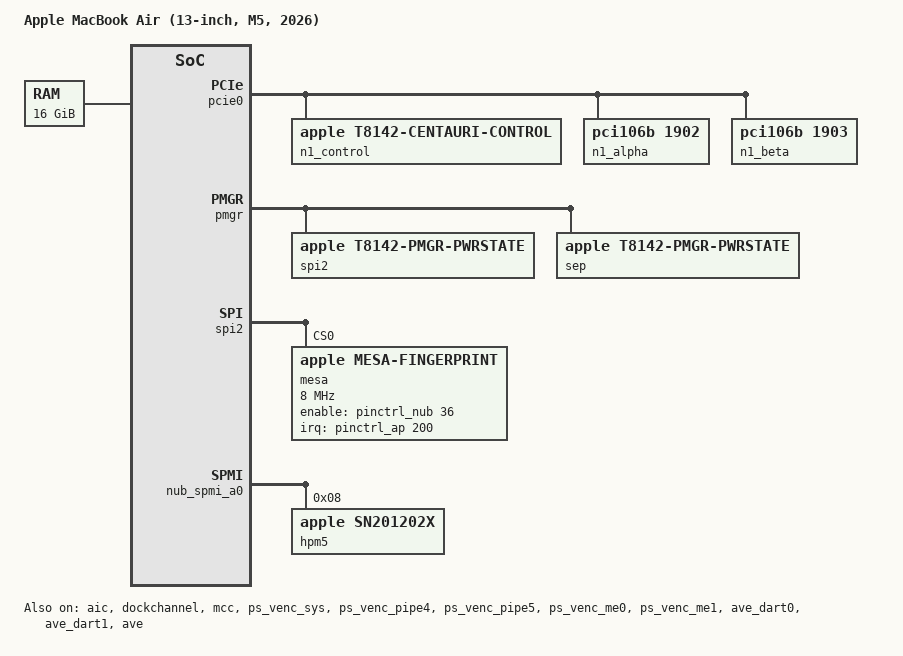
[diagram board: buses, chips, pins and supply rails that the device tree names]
// SPDX-License-Identifier: GPL-2.0+ OR MIT
/*
 * Apple MacBook Air (13-inch, M5, 2026), J813.
 *
 * Initial RAM boot resources measured from the J813 Apple Device Tree.
 * The loader supplies usable memory, CPU release addresses and framebuffer
 * geometry. Peripheral power management is left with the boot firmware.
 */
/dts-v1/;

#include "t8142.dtsi"

/ {
	compatible = "apple,j813", "apple,t8142", "apple,arm-platform";
	model = "Apple MacBook Air (13-inch, M5, 2026)";
	chassis-type = "laptop";

	aliases {
		serial0 = &dockchannel;
		serial1 = &serial0;
	};

	chosen {
		#address-cells = <2>;
		#size-cells = <2>;
		ranges;

		stdout-path = "serial0:1500000n8";

		framebuffer0: framebuffer@0 {
			compatible = "apple,simple-framebuffer", "simple-framebuffer";
			reg = <0 0 0 0>; /* Filled by the loader. */
			status = "disabled";
		};
	};

	memory@10000000000 {
		reg = <0x100 0 0x4 0>; /* Filled by the loader. */
	};
};

&cpu0 {
	operating-points-v2 = <&ecluster_opp>;
	performance-domains = <&cpufreq_e>;
	status = "okay";
};

&cpu1 {
	operating-points-v2 = <&ecluster_opp>;
	performance-domains = <&cpufreq_e>;
	status = "okay";
};

&cpu2 {
	operating-points-v2 = <&ecluster_opp>;
	performance-domains = <&cpufreq_e>;
	status = "okay";
};

&cpu3 {
	operating-points-v2 = <&ecluster_opp>;
	performance-domains = <&cpufreq_e>;
	status = "okay";
};

&cpu4 {
	operating-points-v2 = <&ecluster_opp>;
	performance-domains = <&cpufreq_e>;
	status = "okay";
};

&cpu5 {
	operating-points-v2 = <&ecluster_opp>;
	performance-domains = <&cpufreq_e>;
	status = "okay";
};

&cpu6 {
	operating-points-v2 = <&pcluster_opp>;
	performance-domains = <&cpufreq_p>;
	status = "okay";
};

&cpu7 {
	operating-points-v2 = <&pcluster_opp>;
	performance-domains = <&cpufreq_p>;
	status = "okay";
};

&cpu8 {
	operating-points-v2 = <&pcluster_opp>;
	performance-domains = <&cpufreq_p>;
	status = "okay";
};

&cpu9 {
	operating-points-v2 = <&pcluster_opp>;
	performance-domains = <&cpufreq_p>;
	status = "okay";
};

&{/timer} {
	status = "okay";
};

&aic {
	status = "okay";
};

&cpu_pmu {
	status = "okay";
};

&dockchannel {
	status = "okay";
};

#include "t8142-j813-display.dtsi"
#include "t8142-j813-gpu.dtsi"
#include "t8142-j813-peripherals.dtsi"
#include "t8142-j813-j815.dtsi"
#include "t8142-j813-usb.dtsi"
#include "t8142-j813-dcpext.dtsi"
#include "t8142-j813-avd.dtsi"
#include "t8142-j813-isp.dtsi"
#include "t8142-j813-n1.dtsi"
#include "t8142-j813-audio.dtsi"

/*
 * Ambient light sensor, the AOP's "als" service: an ST VD6286, as on J815
 * (same ADT node, /arm-io/aop/iop-aop-nub/als). aop_als sends it the
 * per-device calibration (apple/aop-als-cal.bin). No firmware-name: that
 * names the CT817 setup-port message, which this sensor does not take.
 */
&aop {
	aop_als: als {
		compatible = "apple,t8142-aop-als", "apple,aop-als";
	};

	/*
	 * Lid angle: the J813 AOP firmware announces a "las" service, as the
	 * J815's does, and aop_las reads the hinge angle from it.
	 */
	aop_las: las {
		compatible = "apple,t8142-aop-las", "apple,aop-las";
	};
};

/*
 * N1 functions behind apcie port 0 (0000:00:00.0 -> 01:00.{0,1,2}), so the
 * loader has somewhere to put the factory addresses: it copies ADT /chosen
 * mac-address-wifi0 and mac-address-bluetooth0 into the wifi0/bluetooth0
 * alias targets. Same nodes as t8142-j815.dts (same N1, same PCI IDs).
 */
/ {
	aliases {
		wifi0 = &n1_alpha;
		bluetooth0 = &n1_beta;
		/*
		 * The loader finds the SEP through this alias: it reserves SEPFW
		 * and copies the boot's local-policy and iBoot manifests onto
		 * the node.
		 */
		sep = &sep;
	};
};

&pcie0 {
	n1_port: pci@0,0 {
		device_type = "pci";
		reg = <0x0 0x0 0x0 0x0 0x0>;
		bus-range = <1 1>;
		#address-cells = <3>;
		#size-cells = <2>;
		ranges;

		n1_control: control@0,0 {
			compatible = "apple,t8142-centauri-control", "pci106b,1900";
			reg = <0x10000 0x0 0x0 0x0 0x0>;
		};

		n1_alpha: wifi@0,1 {
			compatible = "pci106b,1902";
			reg = <0x10100 0x0 0x0 0x0 0x0>;
			/* Filled by the loader */
			local-mac-address = [00 00 00 00 00 00];
		};

		n1_beta: bluetooth@0,2 {
			compatible = "pci106b,1903";
			reg = <0x10200 0x0 0x0 0x0 0x0>;
			/* Filled by the loader */
			local-bd-address = [00 00 00 00 00 00];
		};
	};
};

&mtp_hid {
	multi-touch {
		firmware-name = "apple/tpmtfw-j813.bin";
	};
};

/* Unexposed chassis port instances remain described and disabled. */

/*
 * Secure Enclave and the Touch ID sensor. All values are from the J813 ADT
 * (macOS 27.0) and are the same as J815's:
 *  - sep: iop-sep,ascwrap-v6 at 0x30a600000 (0x88000), sepfw-booted, so
 *    apple_sep warm-attaches; ASC mailbox at +0x8000, AIC 445-448.
 *  - dart-sep: t8110 at 0x308b80000, irq 455; vm-base-0 0x10000004000,
 *    vm-size-0 0xffff0000.
 *  - spi2 at 0x3a5108000, irq 1241; PMGR device SPI2 at +0x440, parent SPI_P.
 *  - mesa: "biosensor,mesa", sensor-id 0x3356, 8 MHz, CS0; power
 *    function-mesa_pwr = NUB GPIO pin 36; data-ready interrupt on AP GPIO
 *    pin 200.
 * The SEP and its DART stay disabled here: apple_sep enables them at module
 * init (drivers/soc/apple/dt.rs).
 */
&pmgr {
	ps_spi2: power-controller@440 {
		compatible = "apple,t8142-pmgr-pwrstate", "apple,t8103-pmgr-pwrstate";
		reg = <0x440 4>;
		#power-domain-cells = <0>;
		#reset-cells = <0>;
		power-domains = <&ps_spi_p>;
		label = "spi2";
	};
};

&{/soc} {
	sep: sep@30a600000 {
		compatible = "apple,sep";
		reg = <0x3 0x0a600000 0x0 0x88000>;
		mboxes = <&sep_mbox>;
		mbox-names = "mbox";
		iommus = <&sep_dart 0>;
		status = "disabled";
	};

	sep_mbox: mbox@30a608000 {
		compatible = "apple,t8142-asc-mailbox", "apple,asc-mailbox-v4";
		reg = <0x3 0x0a608000 0x0 0x4000>;
		interrupt-parent = <&aic>;
		interrupts = <AIC_IRQ 445 IRQ_TYPE_LEVEL_HIGH>,
			     <AIC_IRQ 446 IRQ_TYPE_LEVEL_HIGH>,
			     <AIC_IRQ 447 IRQ_TYPE_LEVEL_HIGH>,
			     <AIC_IRQ 448 IRQ_TYPE_LEVEL_HIGH>;
		interrupt-names = "send-empty", "send-not-empty",
				  "recv-empty", "recv-not-empty";
		#mbox-cells = <0>;
		status = "okay";
	};

	spi2: spi@3a5108000 {
		compatible = "apple,t8142-spi", "apple,t8103-spi";
		reg = <0x3 0xa5108000 0x0 0x4000>;
		interrupt-parent = <&aic>;
		interrupts = <AIC_IRQ 1241 IRQ_TYPE_LEVEL_HIGH>;
		clocks = <&clkref>;
		power-domains = <&ps_spi2>;
		#address-cells = <1>;
		#size-cells = <0>;
		status = "okay";

		mesa: fingerprint@0 {
			compatible = "apple,mesa-fingerprint";
			reg = <0>;
			spi-max-frequency = <8000000>;
			spi-cpol;
			spi-cs-setup-delay-ns = <20>;
			spi-cs-hold-delay-ns = <20>;
			enable-gpios = <&pinctrl_nub 36 GPIO_ACTIVE_HIGH>;
			interrupt-parent = <&pinctrl_ap>;
			interrupts = <200 IRQ_TYPE_EDGE_RISING>;
			/* Per-device files, built from the Mac's own factory records. */
			firmware-name = "apple/mesacal-j813.bin", "apple/msrk-j813.bin";
			status = "okay";
		};
	};
};

&sep_dart {
	apple,dma-range = /bits/ 64 <0x10000004000 0xffff0000>;
	apple,dma-offset = /bits/ 64 <0x0>;
};

/* Expose the sensor's two pins next to the ones sound uses. */
&pinctrl_ap {
	gpio-reserved-ranges = <0 100>, <101 49>, <152 48>, <201 23>;
};

&pinctrl_nub {
	gpio-reserved-ranges = <0 18>, <19 17>, <37 3>;
};

/*
 * aura (mcc_init_m5) turns the system level cache on; the driver confirms it
 * and flushes on shutdown.
 */
&mcc {
	status = "okay";
};

/*
 * Video encoder: ADT ave ("ave2", pre-loaded) behind dart-ave, the same
 * addresses, interrupts and power states as on the J815. aura hands over the
 * preloaded firmware or disables the node.
 */
&ps_venc_sys {
	status = "okay";
};

&ps_venc_dma {
	status = "okay";
};

&ps_venc_pipe4 {
	status = "okay";
};

&ps_venc_pipe5 {
	status = "okay";
};

&ps_venc_me0 {
	status = "okay";
};

&ps_venc_me1 {
	status = "okay";
};

&ave_dart0 {
	status = "okay";
};

&ave_dart1 {
	status = "okay";
};

&ave {
	status = "okay";
};

/*
 * J813 port of the J815 MagSafe PD controller, DCP DART write-disable and
 * suspend-to-RAM description (t8142-j815.dts), unchanged: the J813 ADT
 * (firmware 27.0) has the same values. Checked there: /arm-io/pmgr reg[1],
 * [2], [7], [18], [34]; SEP +0xc00; DISP_CPU 0x10000, DISP_FE 0x318, DISP_SYS
 * 0x290; dart-dcp reg[1] 0x380714000 and its wr-dis entry {0x3fdc, 0, bit 6};
 * /arm-io/apcie reg[0..10]; pci-bridge0 function-perst GPIO 192; gpio0
 * no-restore-gpio-pins <78 203>; nub-spmi-a0 hpm5 at SID 8; the six wake
 * sources by name (152 72 168 190 89 108). Not run on a J813.
 */
/*
 * The MagSafe 3 port's PD controller: ADT hpm5 on nub-spmi-a0, SID 8, port-type
 * 0x11. It has no USB data path, so it gets no connector node; tipd registers a
 * Type-C port and a power supply for it, as on J714s. The bus is polled on
 * T8142, so like hpm0 and hpm1 it has no interrupts. Its ADT features-supported
 * is <3>, "Power In" only: no liquid detection.
 */
&nub_spmi_a0 {
	hpm5: usb-pd@8 {
		compatible = "apple,sn201202x";
		reg = <0x8 SPMI_USID>;
		apple,no-liquid-detection;
	};
};

/*
 * The DCP DART's PS write-disable bit, which T8142 has instead of T8140's GAPF slice. Live ADT
 * dart-dcp: clock-protection-wr-dis-id <0x1f 0xff>, PSWR instance 0 = reg[1] 0x380714000.
 * /chosen/dart-ps-wr-dis-entries[0x1f] = {offset 0x3fdc, instance 0, bit 6, refcount 1}, and
 * the T8142 SPTM (27.2.1) sets that bit on the 0->1 refcount and clears it on 1->0 at the
 * DART's power-down, where T8140's clears GAPF bit 4. Set, the fabric rejects writes to
 * DISP_CPU's power word: the DART driver clears it once the DCP is stopped and sets it again
 * after. Only a DCP firmware stop uses it. Never run on an M5.
 */
&dcp_dart {
	reg = <0x2 0x86340000 0x0 0x20000>,
	      <0x3 0x80717fdc 0x0 0x4>;
	reg-names = "dart", "ps-wr-dis";
	apple,ps-wr-dis-bit = <6>;
};

/*
 * Suspend-to-RAM (apple,t8142-sleep): derived from macOS 27.2.1 and T8132's measurements, and
 * dry-run gated in the driver (apple_sleep.deep, apple_sleep.untested_commit).
 */
&pmgr {
	/*
	 * SEP (J815 and J813 ADT, PMGR +0xc00). Never switched by Linux: named so the enclave's sleep
	 * request (pm_shim) and the deep sleep's last refusal can read its state, as on J713.
	 */
	ps_sep: power-controller@c00 {
		compatible = "apple,t8142-pmgr-pwrstate", "apple,t8103-pmgr-pwrstate";
		reg = <0xc00 4>;
		#power-domain-cells = <0>;
		#reset-cells = <0>;
		label = "sep";
		apple,always-on;
		apple,firmware-owned;
	};
};

/* For the enclave's sleep request; the domain is firmware-owned. */
&sep {
	power-domains = <&ps_sep>;
};

&{/soc} {
	/*
	 * The CPU cores' power-gate enables, /arm-io/pmgr reg[34] (0x380724000): one word per
	 * core at a 0x10 stride, E cores 0..5 at +0x0..+0x50, P cores at +0x60... iBoot leaves
	 * the boot core's (P core 0, +0x60) clear (probe snapshot: 0), so the boot core never
	 * powers off in WFI, the P complex stays BUSY at the commit and WD2 resets (b44-b46).
	 * AppleT8142PMGR's restoreHW sets exactly +0x0 and +0x60, T8132 (J713) enables the
	 * same two words at boot, T6050 measured the same failure with core 0's word clear.
	 */
	cluster_pwrgate: power-gate@380724000 {
		compatible = "apple,t8142-cluster-pwrgate", "apple,cluster-pwrgate";
		reg = <0x3 0x80724000 0x0 0x4>,
		      <0x3 0x80724060 0x0 0x4>;
	};

	/*
	 * Suspend-to-RAM. The blocks are T8132's, at the same J815 and J813 ADT indices: /arm-io/pmgr
	 * reg[32] (ps), [34] (pwrgate), [42] (cpu-start), [45] (cllt; EARLY_WAKEUP_CFG at
	 * +0x50), [36] (cluster), [40] + 0x4000 (commit), [38] (aon-misc), [4] (wake: nine mask
	 * and nine status words), [1] (ps-aon), /arm-io/wdt, nub-spmi0, nub-spmi-a0, the
	 * PMC's voter floors (as &pmc), and the SoC and DCS perf-state words that
	 * AppleT8142PMGR::setPerfState writes (reg[2] + 0x24000, + 0x25000).
	 * Derived from macOS 27.2.1 and T8132's measurements, never run on an M5: the driver
	 * stops each sleep at a dry run unless booted with apple_sleep.untested_commit=1,
	 * and deep sleep is only used when asked for (mem_sleep).
	 */
	sleep: sleep-controller@380700000 {
		compatible = "apple,t8142-sleep";
		reg = <0x3 0x80700000 0x0 0x18000>,
		      <0x3 0x80724000 0x0 0x2000>,
		      <0x3 0x80734000 0x0 0x10>,
		      <0x3 0x80768000 0x0 0x54>,
		      <0x3 0x80780000 0x0 0x8>,
		      <0x3 0x882d4000 0x0 0x4>,
		      <0x3 0x882b0000 0x0 0x30>,
		      <0x3 0x882b8000 0x0 0x44>,
		      <0x3 0x88004000 0x0 0x50>,
		      /* SPMI gen 4: queue at +0x200..0x220, notify enable/ack +0x420/+0x620 */
		      <0x3 0x88714000 0x0 0x1000>,
		      <0x3 0x88280000 0x0 0x10000>,
		      /* nub-spmi-a0's notify enable word (gen 4: +0x420; gen 1 had +0x40) */
		      <0x3 0x88908420 0x0 0x4>,
		      <0x3 0x82700000 0x0 0x10000>,
		      <0x3 0x80024000 0x0 0x4>,
		      <0x3 0x80025000 0x0 0x4>,
		      /*
		       * Each complex's ACC word 0x40f8 (ADT pmgr reg[7] E, reg[18] P, + 0x40f8),
		       * which AppleT8142PMGR sets to 1 after the complex powers on and at the
		       * end of restoreHW.
		       */
		      <0x2 0x10e440f8 0x0 0x4>,
		      <0x2 0x11e440f8 0x0 0x4>;
		reg-names = "ps", "pwrgate", "cpu-start", "cllt", "cluster",
			    "commit", "wdt", "aon-misc", "wake", "spmi",
			    "ps-aon", "spmi-a0", "pmc-voters", "clk-perf", "dcs",
			    "acc-e", "acc-p";
		/*
		 * From the J815 and J813 ADT's /arm-io/pmgr ap-wake-sources, the same sources
		 * as T8132's by name: NUB.SPMI0.SW3, ATC0.USBWakeup, SMC.CPUWakeupAP,
		 * SMC.OutboxNotEmpty, MTP.DOCK.CHANNELS.AP0.IRQ and MTP.OutboxNotEmpty.
		 */
		apple,wake-enable = <152 72 168 190 89 108>;
		apple,display-coprocessors = <&dcp>;
		/* ANS's link's shared block, and the radio's link, which only aura trains */
		apple,apcie = <&apcie_shared>;
		apple,radio-host = <&pcie0>;
		/* ADT pci-bridge0 function-perst: AP GPIO 192 */
		apple,radio-perst = <&pinctrl_ap 192 GPIO_ACTIVE_LOW>;
		apple,pinctrl = <&pinctrl_ap>;
		/* The ADT's no-restore-gpio-pins: reading pin 78 raises an SError. */
		apple,pinctrl-skip-pins = <78 203>;
	};

	/*
	 * The internal display's power words for a DCP firmware stop (drm/apple dcp_s2r_*),
	 * written only with appledrm.s2r_untested=1: /arm-io/pmgr reg[34] (pwrgate: DISP_CPU's
	 * retention words 0x11cc and 0x11f0, the pmgr's retention_config_ff/_mem) and reg[32]
	 * (ps: DISP_CPU 0x10000, DISP_FE 0x318, DISP_SYS 0x290). T8142's PMC has no count of
	 * powered DCPs, so no pmc-dcp. Derived from macOS 27.2.1, never run.
	 */
	/*
	 * ANS's side of the shared PCIe block, which the sleep controller brings back after a
	 * real sleep in AppleT8142PCIe's order (as aura's j813_n1.c at boot): ADT /arm-io/apcie
	 * reg[1] (rc), [2] (phy-block; its PHY-PHY control words are reg[3], 0x20000 in), [4]
	 * (phy-ip) and [5] (axi2af, as far as its tables reach). Then the radio's port 0, which
	 * it trains again after the wake: reg[8] (radio-port), [10] (radio-lane) and the root
	 * port's configuration space (radio-cfg, the ECAM's first 4 KiB). reg[6] (clkgen, the
	 * pcieclkgen whose PLLs APCIECoreRCGen4 shuts down before the power goes; AppleT8142PCIe
	 * maps reg[7] as its AUS5 AON top, unused here). aura copies the ADT's
	 * apcie-{axi2af,phy,phy-ip-pll,phy-ip-auspma}-tunables and pci-bridge0's
	 * apcie-config-tunables and pcie-rc{,-gen3-shadow,-gen4-shadow}-tunables here. No
	 * driver binds it.
	 */
	apcie_shared: pcie-shared@48c000000 {
		reg = <0x4 0x8c000000 0x0 0x4000>,
		      <0x4 0x8f000000 0x0 0x40000>,
		      <0x4 0x8f040000 0x0 0x20000>,
		      <0x4 0x8e000000 0x0 0x24000>,
		      <0x4 0x88028000 0x0 0x8000>,
		      <0x4 0x8f010000 0x0 0x4000>,
		      <0x1c 0xb0000000 0x0 0x1000>,
		      <0x4 0x8d044000 0x0 0x4000>;
		reg-names = "rc", "phy-block", "phy-ip", "axi2af",
			    "radio-port", "radio-lane", "radio-cfg", "clkgen";
	};

	dcp_power: display-power@380724000 {
		compatible = "apple,t8142-display-power";
		reg = <0x3 0x80724000 0x0 0x2000>,
		      <0x3 0x80700000 0x0 0x14000>;
		reg-names = "pwrgate", "ps";
	};
};

&dcp {
	apple,display-power = <&dcp_power>;
};
